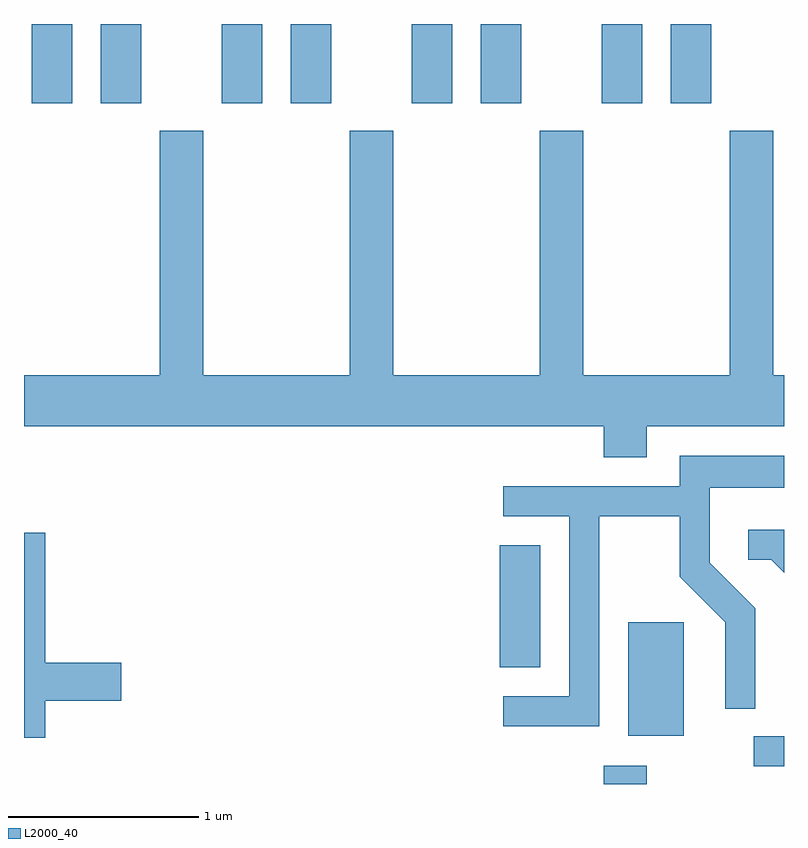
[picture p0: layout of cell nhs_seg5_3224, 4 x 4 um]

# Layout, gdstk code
import gdstk
lib = gdstk.Library(unit=1e-6, precision=1e-09)
def R(c, l, rs):  # rectangles x0, y0, x1, y1
    for r in rs: c.add(gdstk.rectangle(r[:2], r[2:], *l))
def P(c, l, *ps):  # polygons
    for p in ps: c.add(gdstk.Polygon(p, *l))
L2000_40 = (2000, 40)

nhs_seg5_3224 = lib.new_cell('nhs_seg5_3224')
R(nhs_seg5_3224, L2000_40, [(284.661,1406.072,284.889,1406.169), (285.453,1406.166,285.611,1406.324), (284.791,1406.326,285.084,1406.924), (284.116,1406.686,284.329,1407.329), (281.651,1409.656,281.864,1410.072), (282.016,1409.656,282.229,1410.072), (282.651,1409.656,282.864,1410.072), (283.016,1409.656,283.229,1410.072), (283.651,1409.656,283.864,1410.072), (284.016,1409.656,284.229,1410.072), (284.651,1409.656,284.864,1410.072), (285.016,1409.656,285.229,1410.072)])
P(nhs_seg5_3224, L2000_40, [(284.889,1407.956),(285.611,1407.956),(285.611,1408.224),(285.554,1408.224),(285.554,1409.509),(285.326,1409.509),(285.326,1408.224),(284.554,1408.224),(284.554,1409.509),(284.326,1409.509),(284.326,1408.224),(283.554,1408.224),(283.554,1409.509),(283.326,1409.509),(283.326,1408.224),(282.554,1408.224),(282.554,1409.509),(282.326,1409.509),(282.326,1408.224),(281.611,1408.224),(281.611,1407.956),(284.661,1407.956),(284.661,1407.791),(284.889,1407.791)],
  [(284.639,1407.481),(285.061,1407.481),(285.061,1407.164),(285.301,1406.924),(285.301,1406.468),(285.459,1406.468),(285.459,1406.997),(285.219,1407.237),(285.219,1407.631),(285.611,1407.631),(285.611,1407.799),(285.061,1407.799),(285.061,1407.639),(284.133,1407.639),(284.133,1407.481),(284.481,1407.481),(284.481,1406.534),(284.133,1406.534),(284.133,1406.376),(284.639,1406.376)],
  [(285.611,1407.409),(285.423,1407.409),(285.423,1407.251),(285.544,1407.251),(285.611,1407.184)],
  [(281.724,1406.511),(282.124,1406.511),(282.124,1406.709),(281.724,1406.709),(281.724,1407.394),(281.611,1407.394),(281.611,1406.316),(281.724,1406.316)])

lib.write_gds('nhs_seg5_3224.gds')
